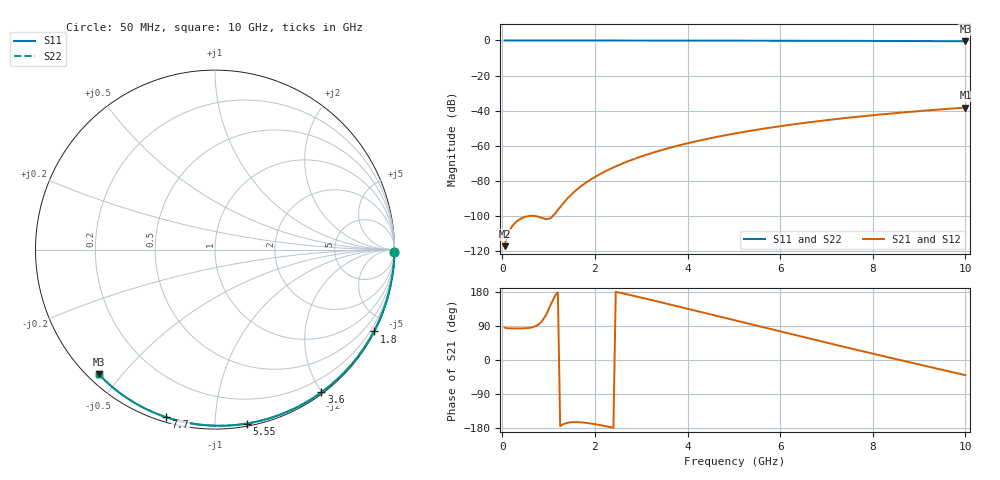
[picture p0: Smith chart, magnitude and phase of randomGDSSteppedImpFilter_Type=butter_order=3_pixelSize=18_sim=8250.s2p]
! freq	dB(S11)	phase(S11)	dB(S12)	phase(S12)
!  dB(S21)	phase(S21)	dB(S22)	phase(S22)
!S-par simulation data
#  GHz  S  DB  R 50
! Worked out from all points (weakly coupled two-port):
!   200 points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, 50 MHz to 10 GHz, reference 50 ohm
!   highest |S21| = -38.26 dB at 10 GHz (marker M1); lowest = -117.3 dB at 50 MHz (marker M2)
!   lowest |S11| = -0.5 dB at 10 GHz (marker M3), VSWR 38.60, Z = 1.54 - j21.7 ohm
!   |S11| at or under -10 dB: nowhere
!   |S22| runs from -0.5 to 0.0 dB; largest |S21 - S12| = 0
!   S11 on the Smith chart (normalised r, x): 50 MHz: open; 1.8 GHz: 0.04, -4.12; 3.6 GHz: 0.02, -1.99; 5.55 GHz: 0.02, -1.20; 7.7 GHz: 0.02, -0.75; 10 GHz: 0.03, -0.43
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0.05  -0.00 -0.8  -117.26 85.6  -117.26 85.6  -0.00 -0.8
0.45  -0.01 -6.9  -100.95 83.4  -100.95 83.4  -0.01 -6.9
0.9  -0.02 -13.8  -101.52 110.1  -101.52 110.1  -0.02 -13.8
1.75  -0.03 -26.5  -82.11 -165.1  -82.11 -165.1  -0.03 -26.5
1.8  -0.03 -27.3  -81.17 -165.8  -81.17 -165.8  -0.03 -27.3
1.85  -0.04 -28.0  -80.28 -166.5  -80.28 -166.5  -0.04 -28.0
1.9  -0.04 -28.7  -79.43 -167.4  -79.43 -167.4  -0.04 -28.7
2.05  -0.04 -31.0  -77.05 -170.4  -77.05 -170.4  -0.04 -31.0
2.25  -0.04 -33.9  -74.24 -175.0  -74.24 -175.0  -0.04 -33.9
2.65  -0.05 -39.7  -69.54 174.5  -69.54 174.5  -0.05 -39.7
3  -0.06 -44.8  -66.13 164.7  -66.13 164.7  -0.06 -44.8
3.4  -0.07 -50.5  -62.80 153.1  -62.80 153.1  -0.07 -50.5
3.6  -0.07 -53.3  -61.31 147.2  -61.31 147.2  -0.07 -53.3
4.3  -0.09 -63.0  -56.81 126.3  -56.81 126.3  -0.09 -63.0
5.05  -0.11 -73.0  -52.89 103.7  -52.89 103.7  -0.11 -73.0
5.55  -0.13 -79.6  -50.66 88.8  -50.66 88.8  -0.13 -79.6
6.1  -0.15 -86.6  -48.49 72.4  -48.49 72.4  -0.15 -86.6
6.7  -0.18 -94.1  -46.39 54.6  -46.39 54.6  -0.18 -94.1
7.7  -0.24 -106.3  -43.41 25.4  -43.41 25.4  -0.24 -106.3
8.35  -0.29 -113.9  -41.75 6.7  -41.75 6.7  -0.29 -113.9
9.15  -0.36 -123.2  -39.94 -16.1  -39.94 -16.1  -0.36 -123.2
10  -0.45 -133.0  -38.26 -40.1  -38.26 -40.1  -0.45 -133.0
